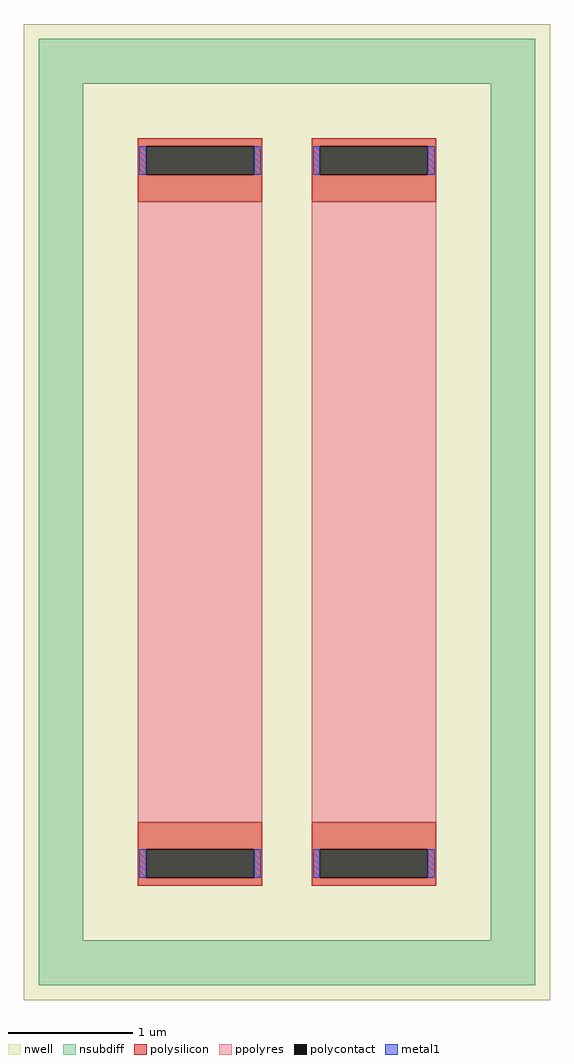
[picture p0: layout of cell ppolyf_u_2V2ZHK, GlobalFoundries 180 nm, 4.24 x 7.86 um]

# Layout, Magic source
magic
tech gf180mcuC
magscale 1 10
<< nwell >>
rect -424 -786 424 786
<< nsubdiff >>
rect -400 690 400 762
rect -400 -690 -328 690
rect 328 -690 400 690
rect -400 -762 400 -690
<< polysilicon >>
rect -240 589 -40 602
rect -240 543 -227 589
rect -53 543 -40 589
rect -240 500 -40 543
rect -240 -543 -40 -500
rect -240 -589 -227 -543
rect -53 -589 -40 -543
rect -240 -602 -40 -589
rect 40 589 240 602
rect 40 543 53 589
rect 227 543 240 589
rect 40 500 240 543
rect 40 -543 240 -500
rect 40 -589 53 -543
rect 227 -589 240 -543
rect 40 -602 240 -589
<< polycontact >>
rect -227 543 -53 589
rect -227 -589 -53 -543
rect 53 543 227 589
rect 53 -589 227 -543
<< ppolyres >>
rect -240 -500 -40 500
rect 40 -500 240 500
<< metal1 >>
rect -238 543 -227 589
rect -53 543 -42 589
rect 42 543 53 589
rect 227 543 238 589
rect -238 -589 -227 -543
rect -53 -589 -42 -543
rect 42 -589 53 -543
rect 227 -589 238 -543
<< properties >>
string FIXED_BBOX -364 -726 364 726
string gencell ppolyf_u
string library gf180mcu
string parameters w 1.0 l 5.0 m 1 nx 2 wmin 0.80 lmin 1.00 rho 315 val 1.693k dummy 0 dw 0.07 term 0.0 sterm 0.0 caplen 0.4 snake 0 glc 0 grc 0 gtc 0 gbc 0 roverlap 0 endcov 100 full_metal 0
<< end >>
